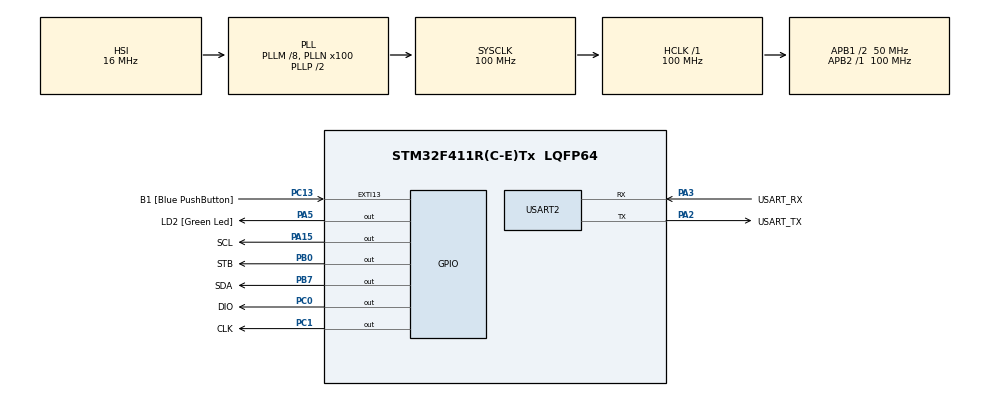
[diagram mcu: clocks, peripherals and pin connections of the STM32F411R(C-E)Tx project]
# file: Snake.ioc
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Mcu.Family=STM32F4
Mcu.Name=STM32F411R(C-E)Tx
Mcu.Package=LQFP64
NVIC.PriorityGroup=NVIC_PRIORITYGROUP_0
PA13.GPIO_Label=TMS
PA13.Signal=SYS_JTMS-SWDIO
PA14.GPIO_Label=TCK
PA14.Signal=SYS_JTCK-SWCLK
PA15.GPIO_Label=SCL
PA15.GPIO_ModeDefaultOutputPP=GPIO_MODE_OUTPUT_PP
PA15.Signal=GPIO_Output
PA2.GPIO_Label=USART_TX
PA2.Mode=Asynchronous
PA2.Signal=USART2_TX
PA3.GPIO_Label=USART_RX
PA3.Mode=Asynchronous
PA3.Signal=USART2_RX
PA5.GPIO_Label=LD2 [Green Led]
PA5.Signal=GPIO_Output
PB0.GPIO_Label=STB
PB0.Signal=GPIO_Output
PB3.GPIO_Label=SWO
PB3.Signal=SYS_JTDO-SWO
PB7.GPIO_Label=SDA
PB7.GPIO_ModeDefaultOutputPP=GPIO_MODE_OUTPUT_OD
PB7.Signal=GPIO_Output
PC0.GPIO_Label=DIO
PC0.GPIO_ModeDefaultOutputPP=GPIO_MODE_OUTPUT_OD
PC0.GPIO_PuPd=GPIO_NOPULL
PC0.Signal=GPIO_Output
PC1.GPIO_Label=CLK
PC1.Signal=GPIO_Output
PC13-ANTI_TAMP.GPIO_Label=B1 [Blue PushButton]
PC13-ANTI_TAMP.GPIO_ModeDefaultEXTI=GPIO_MODE_EVT_RISING
PC13-ANTI_TAMP.Signal=GPXTI13
PC14-OSC32_IN.Signal=RCC_OSC32_IN
PC15-OSC32_OUT.Signal=RCC_OSC32_OUT
PH0\ -\ OSC_IN.Signal=RCC_OSC_IN
PH1\ -\ OSC_OUT.Signal=RCC_OSC_OUT
ProjectManager.HeapSize=0x200
ProjectManager.StackSize=0x400
ProjectManager.TargetToolchain=TrueSTUDIO
RCC.48MHZClocksFreq_Value=50000000
RCC.AHBFreq_Value=100000000
RCC.APB1CLKDivider=RCC_HCLK_DIV2
RCC.APB1Freq_Value=50000000
RCC.APB1TimFreq_Value=100000000
RCC.APB2Freq_Value=100000000
RCC.APB2TimFreq_Value=100000000
RCC.CortexFreq_Value=100000000
RCC.FLatency-AdvancedSettings=FLASH_LATENCY_3
RCC.HCLKFreq_Value=100000000
RCC.HSE_VALUE=8000000
RCC.HSI_VALUE=16000000
RCC.LSE_VALUE=32768
RCC.PLLM=8
RCC.PLLN=100
RCC.SYSCLKFreq_VALUE=100000000
RCC.SYSCLKSource=RCC_SYSCLKSOURCE_PLLCLK
RCC.VCOOutputFreq_Value=200000000
board=NUCLEO-F411RE

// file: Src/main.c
/**
 ******************************************************************************
 * File Name          : main.c
 * Description        : Main program body
 ******************************************************************************
 *
 * COPYRIGHT(c) 2017 STMicroelectronics
 *
 * Redistribution and use in source and binary forms, with or without modification,
 * are permitted provided that the following conditions are met:
 *   1. Redistributions of source code must retain the above copyright notice,
 *      this list of conditions and the following disclaimer.
 *   2. Redistributions in binary form must reproduce the above copyright notice,
 *      this list of conditions and the following disclaimer in the documentation
 *      and/or other materials provided with the distribution.
 *   3. Neither the name of STMicroelectronics nor the names of its contributors
 *      may be used to endorse or promote products derived from this software
 *      without specific prior written permission.
 *
 * THIS SOFTWARE IS PROVIDED BY THE COPYRIGHT HOLDERS AND CONTRIBUTORS "AS IS"
 * AND ANY EXPRESS OR IMPLIED WARRANTIES, INCLUDING, BUT NOT LIMITED TO, THE
 * IMPLIED WARRANTIES OF MERCHANTABILITY AND FITNESS FOR A PARTICULAR PURPOSE ARE
 * DISCLAIMED. IN NO EVENT SHALL THE COPYRIGHT HOLDER OR CONTRIBUTORS BE LIABLE
 * FOR ANY DIRECT, INDIRECT, INCIDENTAL, SPECIAL, EXEMPLARY, OR CONSEQUENTIAL
 * DAMAGES (INCLUDING, BUT NOT LIMITED TO, PROCUREMENT OF SUBSTITUTE GOODS OR
 * SERVICES; LOSS OF USE, DATA, OR PROFITS; OR BUSINESS INTERRUPTION) HOWEVER
 * CAUSED AND ON ANY THEORY OF LIABILITY, WHETHER IN CONTRACT, STRICT LIABILITY,
 * OR TORT (INCLUDING NEGLIGENCE OR OTHERWISE) ARISING IN ANY WAY OUT OF THE USE
 * OF THIS SOFTWARE, EVEN IF ADVISED OF THE POSSIBILITY OF SUCH DAMAGE.
 *
 ******************************************************************************
 */
#include "main.h"
#include "stm32f4xx_hal.h"

/* USER CODE BEGIN Includes */
/*============================================================================
Name:          main.c
Author:        Emil Våhlström
Compile with:  Atollic TrueSTUDIO /
GCC: (GNU Tools for ARM Embedded Processors (Build 16.04-3)) 5.3.1
Date:          2017-02-04
Description:   Uppgift 5 - Font: Write text on a SSD1306(OLED)-screen
============================================================================*/

#include <stdlib.h>
#include "pic.h"
#include "font.h"

#define SCL(x)          HAL_GPIO_WritePin(SCL_GPIO_Port, SCL_Pin, x)
#define SDA(x)          HAL_GPIO_WritePin(SDA_GPIO_Port, SDA_Pin, x)
#define rSDA            HAL_GPIO_ReadPin(SDA_GPIO_Port, SDA_Pin)
#define LD2(x)          HAL_GPIO_WritePin(LD2_GPIO_Port, LD2_Pin, x)    //LD2
#define HIGH            GPIO_PIN_SET
#define LOW             GPIO_PIN_RESET
#define CDELAY          cdelay()

#define ADDRESS         (0x3c<<1)
#define WRITE           0
#define READ            1
#define HORIZONTAL      0
#define VERTICAL        1
#define COMMAND         0x00
#define DATA            0x40
#define STARTBIT        SDA(LOW);  CDELAY   //SCK=HIGH
#define STOPBIT         SCL(HIGH); CDELAY; SDA(HIGH); CDELAY; CDELAY;   //SCK=HIGH

#define CONTRAST        0x81    //A
#define DISPLAYON(x)    (0xa4+x)
#define INVERSE(x)      (0xa6+x)
#define ONOFF(x)        (0xae +x)

#define LOCOL(x)        (x)
#define HICOL(x)        (0x10+x)
#define ADDRESSING      0x20    //A
#define SETCOL          0x21    //AB
#define SETPAGE         0x22    //AB
#define SETPAGESTART(x) (0xb0+x)

#define STARTLINE(x)    (0x40+x)
#define REMAP(x)        (0xa0+x)
#define MULTIPLEX       0xa8    //A
#define OUTDIR(x)       (0xc0+(x<<3))
#define OFFSET          0xd3    //A
#define COMPINS         0xda    //A

#define DIVIDEFREQ      0xd5    //A
#define PRECHARGE       0xd9    //A
#define VCOMH           0xdb    //A
#define NOP             0xe3

#define CHARGEPUMP      0x8d    //A

#define DISABLESCROLL   0x2e

#define DISPLAY_WIDTH   128
#define DISPLAY_HEIGHT  64
#define PAGE_HEIGHT     8

#define FONT_WIDTH      8

//k&l
#define STB(x)      HAL_GPIO_WritePin(GPIOB, GPIO_PIN_0, x)         //A3
#define CLK(x)      HAL_GPIO_WritePin(GPIOC, GPIO_PIN_1, x)         //A4
#define DIO(x)      HAL_GPIO_WritePin(GPIOC, GPIO_PIN_0, x)         //A5
#define rDIO        HAL_GPIO_ReadPin(GPIOC, GPIO_PIN_0)             //A5

#define KL_DATA        0x40
#define KL_TESTMODE    0x08
#define KL_FIXED       0x04
#define KL_READ        0x02

#define KL_DISPLAY     0x80    //+ intensity
#define KL_ON          0x08

#define KL_ADDRESS     0xc0    //+ address

#define KL_LED8        0x0F

/* USER CODE END Includes */

UART_HandleTypeDef huart2;

/* USER CODE BEGIN PV */
/* Private variables ---------------------------------------------------------*/

/* USER CODE END PV */

void SystemClock_Config(void);
void Error_Handler(void);
static void MX_GPIO_Init(void);
static void MX_USART2_UART_Init(void);

/* USER CODE BEGIN PFP */
/* Private function prototypes -----------------------------------------------*/

typedef struct Snake
{
    uint8_t x;
    uint8_t y;

    struct Snake *previous;
} Snake;

typedef struct Nibble
{
    uint8_t x;
    uint8_t y;
    uint8_t eaten;
    uint8_t state;
    uint8_t max_delay;
    uint8_t cur_delay;
} Nibble;

typedef enum SegmentNumber
{
    CLEAR = 0x00, ZERO = 0x3F, ONE = 0x06, TWO = 0x5B, THREE = 0x4F, FOUR = 0x66,
    FIVE = 0x6D, SIX = 0x7D, SEVEN = 0x07, EIGHT = 0x7F, NINE = 0x6F, A = 0x77,
    B = 0x7C, C = 0x39, D = 0x5E, E = 0x79, F = 0x71
} SegmentNumber;

typedef enum Direction { UP, RIGHT, DOWN, LEFT } Direction;

void cdelay(void);
void udelay(volatile unsigned int delay);

GPIO_PinState oled_sendbyte(uint8_t data);
GPIO_PinState oled_sendbit(GPIO_PinState val);
void oled_init(void);
void oled_clear(void);
void oled_draw(uint8_t field[64][32], Snake snake, Nibble nibble, uint8_t buffer[]);
void printstr(char *string);
void init_field(uint8_t field[64][32]);
void add_node(Snake **head);
void delete_node(Snake **head);
void init_snake(Snake **head);
void randomize_nibble(Snake snake, Nibble *nibble);
uint8_t check_collision(Snake *snake);
void restart(Snake **snake, Nibble *nibble, uint8_t *score, uint8_t highest_score, Direction *current_direction);
void change_direction(Direction *current_direction, uint8_t direction_left);
void keyled_init(void);
void keyled_send_command(uint8_t data);
void keyled_send_data(uint8_t address, uint8_t data);
void keyled_sendbyte(uint8_t data);
void keyled_printscore(uint8_t score, uint8_t base_address);
void keyled_send_led_data(uint8_t address, uint8_t data);
uint32_t keyled_readbyte(void);
uint8_t keyled_decode_input(uint32_t value);
SegmentNumber convert_to_segment(uint8_t data);

/* USER CODE END PFP */

int main(void)
{

    /* MCU Configuration----------------------------------------------------------*/

    /* Reset of all peripherals, Initializes the Flash interface and the Systick. */
    HAL_Init();

    /* Configure the system clock */
    SystemClock_Config();

    /* Initialize all configured peripherals */
    MX_GPIO_Init();
    MX_USART2_UART_Init();

    /* Infinite loop */
    /* USER CODE BEGIN WHILE */

    Snake *snake;
    uint8_t field[64][32] = {0};
    uint8_t score = 0, highest_score = 0;
    uint8_t buffer[DISPLAY_WIDTH * PAGE_HEIGHT] = {0};
    uint8_t old_x , old_y, temp;
    Direction *current_direction = malloc(sizeof(Direction));
    uint8_t left_pressed = 0;
    uint8_t right_pressed = 0;
    volatile uint32_t input_data;
    volatile uint8_t keymask;
    Snake *snake_prev;

    Nibble nibble =
    {
            .x = 15,
            .y = 27,
            .eaten = 0,
            .state = 1,
            .max_delay = 10,
            .cur_delay = 0
    };

    *current_direction = RIGHT;

    init_snake(&snake);
    init_field(field);
    oled_init();
    oled_clear();
    keyled_init();
    oled_draw(field, *snake, nibble, buffer);
    keyled_printscore(score, 0x08);

    while (1)
    {
        input_data = keyled_readbyte(); //read from keys
        keymask = keyled_decode_input(input_data);

        if (left_pressed == 0 && keymask & 0x80) //LEFT KEY
        {
            left_pressed = 1;
            change_direction(current_direction, 1);
        }
        else if (left_pressed == 1 && !(keymask & 0x80)) //IF LEFT KEY RELEASED
        {
            left_pressed = 0;
        }
        if (right_pressed == 0 && keymask & 0x40) //RIGHT KEY
        {
            right_pressed = 1;
            change_direction(current_direction, 0);
        }
        else if (right_pressed == 1 && !(keymask & 0x40)) //IF RIGHT KEY RELEASED
        {
            right_pressed = 0;
        }

        if (nibble.eaten)
        {
            if (nibble.eaten == 4) //if eaten, wait randomizing nibble again
            {
                randomize_nibble(*snake, &nibble);
                nibble.eaten = 0;
            }
            else {
                nibble.eaten++;
            }
        }

        old_x = snake->x;
        old_y = snake->y;
        snake_prev = snake->previous;

        //check direction, update position of the snake's head-node
        switch (*current_direction)
        {
        case UP:
            snake->y--;
            break;
        case RIGHT:
            snake->x++;
            break;
        case DOWN:
            snake->y++;
            break;
        case LEFT:
            snake->x--;
            break;
        }

        //go through all snake-nodes and let each child get the parents position
        while (snake_prev != NULL)
        {
            if (snake_prev->x == old_x && snake_prev->y == old_y)
            {
                break;
            }
            temp = snake_prev->x;
            snake_prev->x = old_x;
            old_x = temp;
            temp = (*snake_prev).y;
            snake_prev->y = old_y;
            old_y = temp;
            snake_prev = snake_prev->previous; //giving previous node coordinates
        }

        //make sure nibble blinks every time delay >= max_delay
        if (nibble.cur_delay >= nibble.max_delay && nibble.eaten == 0)
        {
            nibble.cur_delay = 0;
            nibble.state ^= 1;
        }
        else
            nibble.cur_delay++;

        //if collision, update highscore and restart game
        if (check_collision(snake))
        {
            if (score > highest_score)
                highest_score = score;
            restart(&snake, &nibble, &score, highest_score, current_direction);
        }
        else
        {
            if (snake->x == nibble.x && snake->y == nibble.y)
            {
                for (int i = 0; i < 3; i++)
                    add_node(&snake);

                nibble.eaten = 1;
                score++;
                keyled_printscore(score, 0x08);
            }
        }

        oled_draw(field, *snake, nibble, buffer); //draw screen
        HAL_Delay(20); //put delay to not make the game to fast

        /* USER CODE END WHILE */

    }

}

/** System Clock Configuration
 */
void SystemClock_Config(void)
{

    RCC_OscInitTypeDef RCC_OscInitStruct;
    RCC_ClkInitTypeDef RCC_ClkInitStruct;

    /**Configure the main internal regulator output voltage
     */
    __HAL_RCC_PWR_CLK_ENABLE();

    __HAL_PWR_VOLTAGESCALING_CONFIG(PWR_REGULATOR_VOLTAGE_SCALE1);

    /**Initializes the CPU, AHB and APB busses clocks
     */
    RCC_OscInitStruct.OscillatorType = RCC_OSCILLATORTYPE_HSI;
    RCC_OscInitStruct.HSIState = RCC_HSI_ON;
    RCC_OscInitStruct.HSICalibrationValue = 16;
    RCC_OscInitStruct.PLL.PLLState = RCC_PLL_ON;
    RCC_OscInitStruct.PLL.PLLSource = RCC_PLLSOURCE_HSI;
    RCC_OscInitStruct.PLL.PLLM = 8;
    RCC_OscInitStruct.PLL.PLLN = 100;
    RCC_OscInitStruct.PLL.PLLP = RCC_PLLP_DIV2;
    RCC_OscInitStruct.PLL.PLLQ = 4;
    if (HAL_RCC_OscConfig(&RCC_OscInitStruct) != HAL_OK)
    {
        Error_Handler();
    }

    /**Initializes the CPU, AHB and APB busses clocks
     */
    RCC_ClkInitStruct.ClockType = RCC_CLOCKTYPE_HCLK|RCC_CLOCKTYPE_SYSCLK
            |RCC_CLOCKTYPE_PCLK1|RCC_CLOCKTYPE_PCLK2;
    RCC_ClkInitStruct.SYSCLKSource = RCC_SYSCLKSOURCE_PLLCLK;
    RCC_ClkInitStruct.AHBCLKDivider = RCC_SYSCLK_DIV1;
    RCC_ClkInitStruct.APB1CLKDivider = RCC_HCLK_DIV2;
    RCC_ClkInitStruct.APB2CLKDivider = RCC_HCLK_DIV1;

    if (HAL_RCC_ClockConfig(&RCC_ClkInitStruct, FLASH_LATENCY_3) != HAL_OK)
    {
        Error_Handler();
    }

    /**Configure the Systick interrupt time
     */
    HAL_SYSTICK_Config(HAL_RCC_GetHCLKFreq()/1000);

    /**Configure the Systick
     */
    HAL_SYSTICK_CLKSourceConfig(SYSTICK_CLKSOURCE_HCLK);

    /* SysTick_IRQn interrupt configuration */
    HAL_NVIC_SetPriority(SysTick_IRQn, 0, 0);
}

/* USART2 init function */
static void MX_USART2_UART_Init(void)
{

    huart2.Instance = USART2;
    huart2.Init.BaudRate = 115200;
    huart2.Init.WordLength = UART_WORDLENGTH_8B;
    huart2.Init.StopBits = UART_STOPBITS_1;
    huart2.Init.Parity = UART_PARITY_NONE;
    huart2.Init.Mode = UART_MODE_TX_RX;
    huart2.Init.HwFlowCtl = UART_HWCONTROL_NONE;
    huart2.Init.OverSampling = UART_OVERSAMPLING_16;
    if (HAL_UART_Init(&huart2) != HAL_OK)
    {
        Error_Handler();
    }

}

/** Configure pins as
 * Analog
 * Input
 * Output
 * EVENT_OUT
 * EXTI
 */
static void MX_GPIO_Init(void)
{

    GPIO_InitTypeDef GPIO_InitStruct;

    /* GPIO Ports Clock Enable */
    __HAL_RCC_GPIOC_CLK_ENABLE();
    __HAL_RCC_GPIOH_CLK_ENABLE();
    __HAL_RCC_GPIOA_CLK_ENABLE();
    __HAL_RCC_GPIOB_CLK_ENABLE();

    /*Configure GPIO pin : B1_Pin */
    GPIO_InitStruct.Pin = B1_Pin;
    GPIO_InitStruct.Mode = GPIO_MODE_EVT_RISING;
    GPIO_InitStruct.Pull = GPIO_NOPULL;
    HAL_GPIO_Init(B1_GPIO_Port, &GPIO_InitStruct);

    /*Configure GPIO pin : DIO_Pin */
    GPIO_InitStruct.Pin = DIO_Pin;
    GPIO_InitStruct.Mode = GPIO_MODE_OUTPUT_OD;
    GPIO_InitStruct.Pull = GPIO_NOPULL;
    GPIO_InitStruct.Speed = GPIO_SPEED_FREQ_LOW;
    HAL_GPIO_Init(DIO_GPIO_Port, &GPIO_InitStruct);

    /*Configure GPIO pin : CLK_Pin */
    GPIO_InitStruct.Pin = CLK_Pin;
    GPIO_InitStruct.Mode = GPIO_MODE_OUTPUT_PP;
    GPIO_InitStruct.Pull = GPIO_NOPULL;
    GPIO_InitStruct.Speed = GPIO_SPEED_FREQ_LOW;
    HAL_GPIO_Init(CLK_GPIO_Port, &GPIO_InitStruct);

    /*Configure GPIO pins : LD2_Pin SCL_Pin */
    GPIO_InitStruct.Pin = LD2_Pin|SCL_Pin;
    GPIO_InitStruct.Mode = GPIO_MODE_OUTPUT_PP;
    GPIO_InitStruct.Pull = GPIO_NOPULL;
    GPIO_InitStruct.Speed = GPIO_SPEED_FREQ_LOW;
    HAL_GPIO_Init(GPIOA, &GPIO_InitStruct);

    /*Configure GPIO pin : STB_Pin */
    GPIO_InitStruct.Pin = STB_Pin;
    GPIO_InitStruct.Mode = GPIO_MODE_OUTPUT_PP;
    GPIO_InitStruct.Pull = GPIO_NOPULL;
    GPIO_InitStruct.Speed = GPIO_SPEED_FREQ_LOW;
    HAL_GPIO_Init(STB_GPIO_Port, &GPIO_InitStruct);

    /*Configure GPIO pin : SDA_Pin */
    GPIO_InitStruct.Pin = SDA_Pin;
    GPIO_InitStruct.Mode = GPIO_MODE_OUTPUT_OD;
    GPIO_InitStruct.Pull = GPIO_NOPULL;
    GPIO_InitStruct.Speed = GPIO_SPEED_FREQ_LOW;
    HAL_GPIO_Init(SDA_GPIO_Port, &GPIO_InitStruct);

    /*Configure GPIO pin Output Level */
    HAL_GPIO_WritePin(GPIOC, DIO_Pin|CLK_Pin, GPIO_PIN_RESET);

    /*Configure GPIO pin Output Level */
    HAL_GPIO_WritePin(GPIOA, LD2_Pin|SCL_Pin, GPIO_PIN_RESET);

    /*Configure GPIO pin Output Level */
    HAL_GPIO_WritePin(GPIOB, STB_Pin|SDA_Pin, GPIO_PIN_RESET);

}

/* USER CODE BEGIN 4 */

void cdelay(void)
{
    volatile int delay;
    for (delay=8;delay;delay--);
}

void udelay(volatile unsigned int delay)
{
    delay*=11.206;
    for (;delay;delay--);
}

GPIO_PinState oled_sendbyte(uint8_t data)
{
    GPIO_PinState ack;

    for (uint8_t i = 0x80; i != 0; i>>=1)
        oled_sendbit(!!(data & i));

    ack = oled_sendbit(HIGH); //check acknowledgement signal(should be LOW)
    SCL(LOW); //Slave releases bus, so master can write again, could also put CDELAY after
    CDELAY; //seems to work without delay, but using it to be sure that bus gets released.
    return ack;
}

GPIO_PinState oled_sendbit(GPIO_PinState val)
{
    SCL(LOW); //set clock to fall
    CDELAY; //wait for SCL to get LOW
    SDA(val); //clock is LOW, now ok to change SDA
    CDELAY; //wait for SDA to reach a stable state
    SCL(HIGH); //set clock to rise
    CDELAY; //wait for SCL to get HIGH, then data is sent to SSD1306
    return rSDA; //used in case of reading ACK
}

void oled_init(void)
{
    STOPBIT;
    STARTBIT;
    LD2(oled_sendbyte(ADDRESS+WRITE));
    LD2(oled_sendbyte(COMMAND));
    LD2(oled_sendbyte(ONOFF(0)));
    LD2(oled_sendbyte(DIVIDEFREQ));  LD2(oled_sendbyte(0x80));
    LD2(oled_sendbyte(MULTIPLEX));   LD2(oled_sendbyte(63));
    LD2(oled_sendbyte(OFFSET));      LD2(oled_sendbyte(0));
    LD2(oled_sendbyte(STARTLINE(0)));
    LD2(oled_sendbyte(CHARGEPUMP));  LD2(oled_sendbyte(0x14));
    LD2(oled_sendbyte(ADDRESSING));  LD2(oled_sendbyte(HORIZONTAL));
    LD2(oled_sendbyte(REMAP(1)));
    LD2(oled_sendbyte(OUTDIR(1)));
    LD2(oled_sendbyte(COMPINS));     LD2(oled_sendbyte(0x12));
    LD2(oled_sendbyte(CONTRAST));    LD2(oled_sendbyte(0xcf));
    LD2(oled_sendbyte(PRECHARGE));   LD2(oled_sendbyte(0xf1));
    LD2(oled_sendbyte(VCOMH));       LD2(oled_sendbyte(0x40));
    LD2(oled_sendbyte(DISPLAYON(0)));
    LD2(oled_sendbyte(INVERSE(0)));
    LD2(oled_sendbyte(DISABLESCROLL));
    LD2(oled_sendbyte(ONOFF(1)));
    LD2(oled_sendbyte(SETCOL));      LD2(oled_sendbyte(0));   LD2(oled_sendbyte(127));
    LD2(oled_sendbyte(SETPAGE));     LD2(oled_sendbyte(0));   LD2(oled_sendbyte(7));
    STOPBIT;
}

void oled_clear(void)
{
    uint16_t i, screen_size = DISPLAY_WIDTH * DISPLAY_HEIGHT;
    STARTBIT;
    LD2(oled_sendbyte(ADDRESS+WRITE));
    LD2(oled_sendbyte(DATA));
    for (i = 0; i < screen_size; i++)
        LD2(oled_sendbyte(0x00));
    STOPBIT;
}

void oled_draw(uint8_t field[64][32], Snake snake, Nibble nibble, uint8_t buffer[])
{
    volatile int x, y;
    volatile uint16_t buff_index, i;

    uint8_t display_data[64][32];

    for (x = 0; x < 64; x++)
    {
        for (y = 0; y< 32; y++)
            display_data[x][y] = field[x][y];
    }

    display_data[nibble.x][nibble.y] = nibble.state;

    Snake *snake_node = &snake;

    while (snake_node != NULL)
    {
        x = snake_node->x;
        y = snake_node->y;

        display_data[x][y] = 1;

        snake_node = snake_node->previous;
    }

    x = 0;
    y = 0;
    buff_index = 0;
    for (buff_index = 0; buff_index < (DISPLAY_WIDTH * PAGE_HEIGHT); buff_index+=2)
    {
        uint8_t segbyte =
                (display_data[x][y] << 0) | (display_data[x][y] << 1) |
                (display_data[x][y + 1] << 2) | (display_data[x][y + 1] << 3) |
                (display_data[x][y + 2] << 4) | (display_data[x][y + 2] << 5) |
                (display_data[x][y + 3] << 6) |(display_data[x][y + 3] << 7);

        buffer[buff_index] = segbyte;
        buffer[buff_index + 1] = segbyte;
        x++;

        if (x >= 64)
        {
            x = 0;
            y += 4;
        }
    }

    STARTBIT;
    LD2(oled_sendbyte(ADDRESS+WRITE));
    LD2(oled_sendbyte(DATA));
    for (i = 0; i < (DISPLAY_WIDTH * PAGE_HEIGHT); i++)
        oled_sendbyte(buffer[i]);
    STOPBIT;
}

void printstr(char *string)
{
    uint8_t i = 0, line_no;
    uint16_t offset;

    STARTBIT;
    LD2(oled_sendbyte(ADDRESS+WRITE));
    LD2(oled_sendbyte(DATA));

    while (string[i] != '\0')
    {
        offset = string[i] * FONT_WIDTH; //get offset from ascii-value
        //This loop prints out the font from left to right.
        for (line_no = 0; line_no < FONT_WIDTH; line_no++) //the font is 8 pixels wide
            LD2(oled_sendbyte(font[offset + line_no]));
        i++;
    }

    STOPBIT;
}

void init_field(uint8_t field[64][32])
{
    uint8_t x, y;
    for (x = 0; x < 64; x++)
    {
        field[x][0] = 1;
        field[x][31] = 1;

        if (x == 0)
        {
            for (y = 0; y < 32; y++)
            {
                field[0][y] = 1;
                field[63][y] = 1;
            }
        }
    }
}

void add_node(Snake **head)
{
    Snake *new_head = (Snake *)malloc(sizeof(Snake));
    new_head->x = (*head)->x;
    new_head->y = (*head)->y;
    (*head)->x = 0; //quick fix, remove later?
    (*head)->y = 0; //should do something else /w coordinates.
    new_head->previous = *head;
    *head = new_head;
}

void delete_node(Snake **head)
{
    if (*head != NULL)
    {
        Snake *temp = *head;
        *head = (*head)->previous;
        free(temp);
    }
}

void init_snake(Snake **head)
{
    *head = (Snake *)malloc(sizeof(Snake));
    (*head)->x = 4;
    (*head)->y = 27;
    (*head)->previous = NULL;

    for (int i = 0; i < 3; i++)
        add_node(head);
}

void randomize_nibble(Snake snake, Nibble *nibble)
{
    int looped = 0;
    int x, y;
    int coordinate_conflict = 0;
    do
    {
        x = 4 + (rand() % 56);
        y = 4 + (rand() % 24);

        Snake *check = &snake;

        while (check != NULL)
        {
            if (x == check->x && y == check->y)
            {
                coordinate_conflict = 1;
                break;
            }

            check = check->previous;
        }
        looped++;
        if (looped >= 128 * 64) //give up after to many tries
        {
            looped = 0;
            break;
        }
    }
    while (coordinate_conflict);

    nibble->x = x;
    nibble->y = y;
}

uint8_t check_collision(Snake *snake)
{
    int x = snake->x;
    int y = snake->y;
    Snake *current = snake->previous;

    while (current != NULL)
    {
        if (current->x == x && current->y == y)
            return 1;
        current = current->previous;
    }

    if (x == 0 || x == 63 || y == 0 || y == 31) //if border
        return 1;

    return 0;
}

void restart(Snake **snake, Nibble *nibble, uint8_t *score, uint8_t highest_score, Direction *current_direction)
{
    *score = 0;
    keyled_printscore(*score, 0x08);
    keyled_printscore(highest_score, 0x00);
    *current_direction = RIGHT;
    while ((*snake)->previous != NULL)
    {
        delete_node(snake);
    }
    init_snake(snake);

    randomize_nibble(**snake, nibble);
}

void change_direction(Direction *current_direction, uint8_t direction_left)
{
    if (direction_left)
    {
        switch (*current_direction)
        {
        case UP:
            *current_direction = LEFT;
            break;
        case RIGHT:
            *current_direction = UP;
            break;
        case DOWN:
            *current_direction = RIGHT;
            break;
        case LEFT:
            *current_direction = DOWN;
            break;
        }
    }
    else //if direction right
    {
        switch (*current_direction)
        {
        case UP:
            *current_direction = RIGHT;
            break;
        case RIGHT:
            *current_direction = DOWN;
            break;
        case DOWN:
            *current_direction = LEFT;
            break;
        case LEFT:
            *current_direction = UP;
            break;
        }
    }
}

void keyled_init(void)
{
    keyled_send_command(KL_DISPLAY | KL_ON | 0x02); //duty-cycle: (0x00: 1/16, 0x02: 4/16, 0x04: 11/16)
    keyled_send_command(KL_DATA); //set automatic address
    STB(LOW);
    CDELAY;
    keyled_sendbyte(KL_ADDRESS); //start-adress
    for (int i = 0; i < 16; i++) //clear display RAM
        keyled_sendbyte(0x00);
    STB(HIGH);
    CDELAY;
}

void keyled_send_command(uint8_t data)
{
    STB(LOW);
    CDELAY;
    keyled_sendbyte(data);
    STB(HIGH);
    CDELAY;
}

void keyled_send_data(uint8_t address, uint8_t data)
{
    STB(LOW); //begin command
    CDELAY;
    keyled_sendbyte(address);
    keyled_sendbyte(data);
    STB(HIGH); //end transmission
    CDELAY;
}

void keyled_sendbyte(uint8_t data)
{
    uint8_t i;

    //falling edge: master send -> rising edge: slave read
    for(i=0x1;i!=0;i<<=1)
    {
        DIO(!!(data & i)); //!! flips bits above 1 to value 1
        CLK(LOW); //DIO outputs data at the falling edge.
        CDELAY; //put delay between pulses
        CLK(HIGH);
        CDELAY; //put delay between pulses
    }
}

void keyled_printscore(uint8_t score, uint8_t base_address)
{
    uint8_t hundreds = 0, tens = 0, ones = 0;
    uint8_t segment_dec_low, segment_dec_mid, segment_dec_high;
    hundreds = score / 100;
    tens = (score % 100) / 10;
    ones = score % 10;

    segment_dec_low = convert_to_segment(ones);
    segment_dec_mid = convert_to_segment(tens);
    segment_dec_high = convert_to_segment(hundreds);

    keyled_send_led_data(KL_ADDRESS | (base_address + 0x06), segment_dec_low);
    keyled_send_led_data(KL_ADDRESS | (base_address + 0x04), segment_dec_mid);
    keyled_send_led_data(KL_ADDRESS | (base_address + 0x02), segment_dec_high);
}

void keyled_send_led_data(uint8_t address, uint8_t data)
{
    STB(LOW); //begin command
    CDELAY;
    keyled_sendbyte(address);
    keyled_sendbyte(data);
    STB(HIGH); //end transmission
    CDELAY;
}

uint32_t keyled_readbyte(void)
{
    uint32_t i, data = 0x0000;

    STB(LOW); //begin command by lowering STB
    CDELAY; //according to timing diagram wait before sending data
    keyled_sendbyte(KL_DATA | KL_READ);
    DIO(HIGH); //to read data on open drain, OD needs a power voltage that it can lead to ground.
    CDELAY; //wait before reading data

    //falling edge: slave send -> rising edge: master read
    for (i = 0; i!=32; i++)
    {
        CLK(LOW); //data output from slave is read into DIO
        CDELAY; //put delay between pulses
        CLK(HIGH); //now okay for slave to input data again
        data |= (rDIO << i); //read on positive clock-flank
        CDELAY; //put delay between pulses
    }

    STB(HIGH); //end transmission
    CDELAY; //wait before next transmission

    return data;
}

uint8_t keyled_decode_input(uint32_t value)
{
    return
            (value & 0x00000001)<<7  |
            (value & 0x00000100)>>2  |
            (value & 0x00010000)>>11 |
            (value & 0x01000000)>>20 |
            (value & 0x00000010)>>1  |
            (value & 0x00001000)>>10 |
            (value & 0x00100000)>>19 |
            (value & 0x10000000)>>28;
}

SegmentNumber convert_to_segment(uint8_t data)
{
    uint8_t nibble = 0x0F & data; //erase bit 4-7
    switch(nibble)
    {
    case (0x01): return ONE;
    case (0x02): return TWO;
    case (0x03): return THREE;
    case (0x04): return FOUR;
    case (0x05): return FIVE;
    case (0x06): return SIX;
    case (0x07): return SEVEN;
    case (0x08): return EIGHT;
    case (0x09): return NINE;
    case (0x0A): return A;
    case (0x0B): return B;
    case (0x0C): return C;
    case (0x0D): return D;
    case (0x0E): return E;
    case (0x0F): return F;
    default: return ZERO;
    }
}

/* USER CODE END 4 */

void Error_Handler(void)
{
    while(1)
    {
    }
}

/************************ (C) COPYRIGHT STMicroelectronics *****END OF FILE****/
